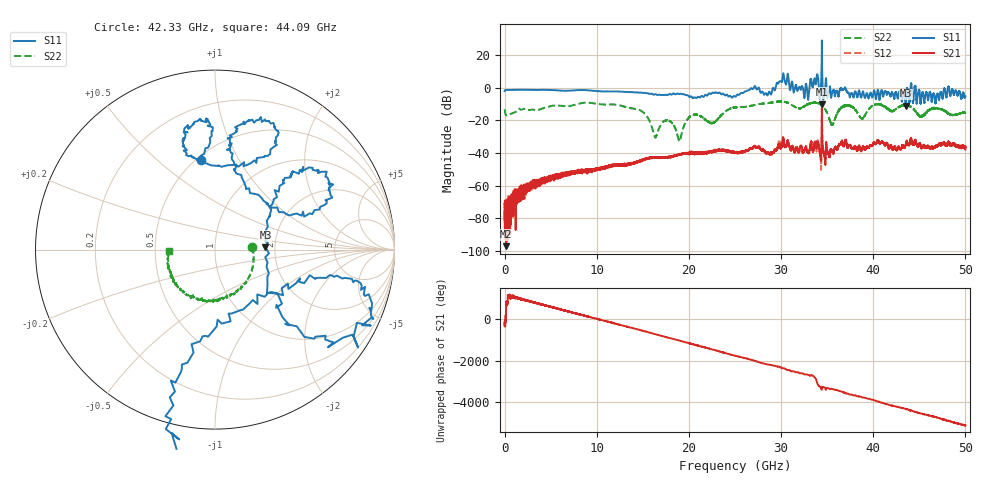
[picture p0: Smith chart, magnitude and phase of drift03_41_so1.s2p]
!Created with skrf (http://scikit-rf.org).
# Hz S RI R 50.0
!freq ReS11 ImS11 ReS21 ImS21 ReS12 ImS12 ReS22 ImS22
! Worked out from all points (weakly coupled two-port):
!   10000 points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, 5.3 MHz to 50 GHz, reference 50 ohm
!   highest |S21| = -10.33 dB at 34.43 GHz (marker M1); lowest = -97.0 dB at 175.3 MHz (marker M2)
!   lowest |S11| = -11.0 dB at 43.52 GHz (marker M3), VSWR 1.78, Z = 89 + j2.62 ohm
!   |S11| at or under -10 dB: 43.4914 GHz to 43.54284 GHz (51.44 MHz wide, 0.118 % of centre)
!   |S22| runs from -32.7 to -8.4 dB; largest |S21 - S12| = 0.097
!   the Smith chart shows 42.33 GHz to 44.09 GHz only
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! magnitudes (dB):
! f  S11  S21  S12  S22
! 5.3 MHz  -2.1  -75.3  -71.8  -13.3
! 175.3 MHz  -1.4  -97.0  -78.9  -16.9
! 3.035 GHz  -1.4  -58.5  -59.3  -13.4
! 8.34 GHz  -1.5  -50.9  -51.2  -9.5
! 14.56 GHz  -3.1  -45.3  -45.0  -13.6
! 16.67 GHz  -4.4  -42.8  -42.6  -26.3
! 17.81 GHz  -4.2  -42.5  -42.6  -20.2
! 18.98 GHz  -3.9  -41.0  -41.0  -32.6
! 20.29 GHz  -5.6  -39.8  -40.0  -17.1
! 22.56 GHz  -3.1  -39.0  -39.5  -21.7
! 25.01 GHz  -5.5  -39.9  -39.8  -12.1
! 28.72 GHz  -2.5  -40.4  -40.4  -9.3
! 30.14 GHz  4.4  -33.7  -34.0  -8.5
! 32.74 GHz  2.0  -36.8  -36.5  -10.6
! 33.34 GHz  2.5  -35.0  -35.1  -9.4
! 34.43 GHz  28.9  -10.3  -12.6  -10.8
! 35.55 GHz  -2.9  -38.8  -38.8  -22.7
! 36.94 GHz  0.1  -33.6  -33.5  -11.1
! 38.76 GHz  -5.4  -38.2  -38.3  -19.0
! 41.67 GHz  -3.0  -37.0  -36.9  -13.3
! 43.52 GHz  -11.0  -34.9  -34.9  -10.7
! 50 GHz  -5.3  -36.2  -36.3  -15.4
